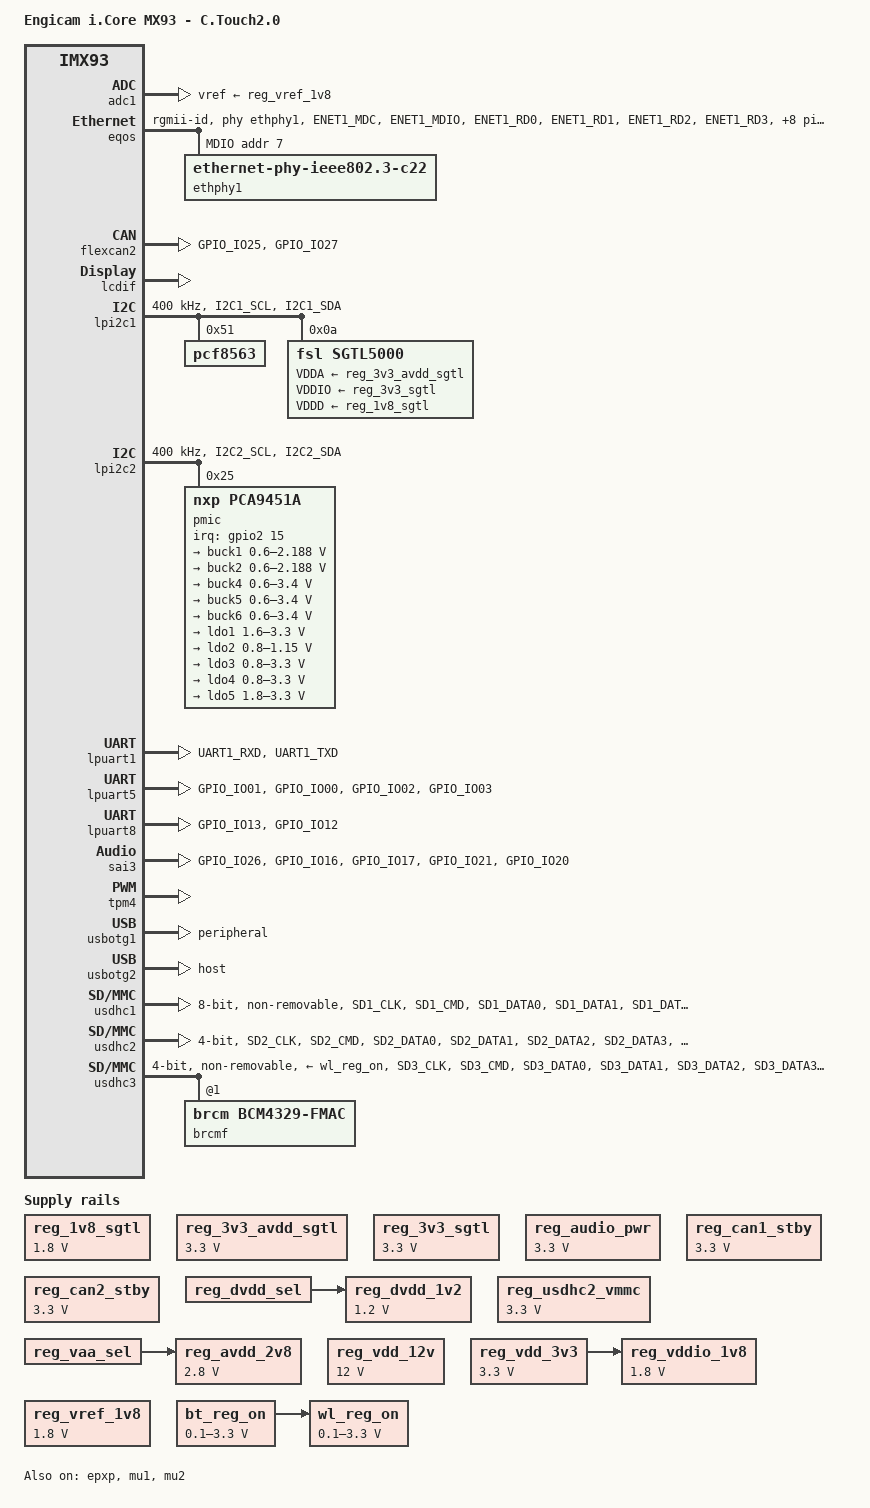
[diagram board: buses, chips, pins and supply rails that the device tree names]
// SPDX-License-Identifier: (GPL-2.0+ OR MIT)
/*
 * Copyright 2022 NXP
 */

/dts-v1/;

#include <dt-bindings/usb/pd.h>
#include "../freescale/imx93.dtsi"

/ {
	model = "Engicam i.Core MX93 - C.Touch2.0";
	compatible = "engi,imx93" ,"fsl,imx93";

	aliases {
		rtc1= &bbnsm_rtc;
	};

	chosen {
		stdout-path = &lpuart1;
	};

	cm33: imx93-cm33 {
		compatible = "fsl,imx93-cm33";
		mbox-names = "tx", "rx", "rxdb";
		mboxes = <&mu1 0 1
			  &mu1 1 1
			  &mu1 3 1>;
		memory-region = <&vdevbuffer>, <&vdev0vring0>, <&vdev0vring1>,
				<&vdev1vring0>, <&vdev1vring1>, <&rsc_table>;
		fsl,startup-delay-ms = <500>;
	};

	ethosu {
		compatible = "arm,ethosu";
		fsl,cm33-proc = <&cm33>;
		memory-region = <&ethosu_mem>;
		power-domains = <&mlmix>;
	};

	reg_1v8_sgtl: reg_1v8_sgtl_regulator {
		compatible = "regulator-fixed";
		regulator-name = "1v8_sgtl";
		regulator-min-microvolt = <1800000>;
		regulator-max-microvolt = <1800000>;
		always-on;
	};

	reg_3v3_avdd_sgtl: reg_3v3_avdd_regulator {
		compatible = "regulator-fixed";
		regulator-name = "3v3_avdd_sgtl";
		regulator-min-microvolt = <3300000>;
		regulator-max-microvolt = <3300000>;
		always-on;
	};

	reg_3v3_sgtl: reg_3v3_sgtl_regulator {
		compatible = "regulator-fixed";
		regulator-name = "3v3_sgtl";
		regulator-min-microvolt = <3300000>;
		regulator-max-microvolt = <3300000>;
		always-on;
	};

	reg_audio_pwr: regulator-audio-pwr {
		compatible = "regulator-fixed";
		regulator-name = "audio-pwr";
		regulator-min-microvolt = <3300000>;
		regulator-max-microvolt = <3300000>;
		enable-active-high;
		regulator-always-on;
	};

	reg_avdd_2v8: regulator-avdd {
		compatible = "regulator-fixed";
		regulator-name = "AVDD_2V8";
		regulator-min-microvolt = <2800000>;
		regulator-max-microvolt = <2800000>;
		enable-active-high;
		vin-supply = <&reg_vaa_sel>;
	};

	reg_can1_stby: regulator-can1-stby {
		compatible = "regulator-fixed";
		regulator-name = "can1-stby";
		regulator-min-microvolt = <3300000>;
		regulator-max-microvolt = <3300000>;
		enable-active-low;
	};

	reg_can2_stby: regulator-can2-stby {
		compatible = "regulator-fixed";
		regulator-name = "can2-stby";
		regulator-min-microvolt = <3300000>;
		regulator-max-microvolt = <3300000>;
		enable-active-low;
	};

	reg_dvdd_1v2: regulator-dvdd {
		compatible = "regulator-fixed";
		regulator-name = "DVDD_1V2";
		regulator-min-microvolt = <1200000>;
		regulator-max-microvolt = <1200000>;
		enable-active-high;
		vin-supply = <&reg_dvdd_sel>;
	};

	reg_dvdd_sel: regulator-dvdd_sel {
		compatible = "regulator-fixed";
		regulator-name = "DVDD_SEL";
		enable-active-high;
		startup-delay-us = <2000>;
	};

	reg_usdhc2_vmmc: regulator-usdhc2 {
		compatible = "regulator-fixed";
		regulator-name = "VSD_3V3";
		regulator-min-microvolt = <3300000>;
		regulator-max-microvolt = <3300000>;
	};

	reg_vaa_sel: regulator-vaa_sel {
		compatible = "regulator-fixed";
		regulator-name = "VAA_SEL";
		enable-active-high;
	};

	reg_vdd_12v: regulator-vdd-12v {
		compatible = "regulator-fixed";
		regulator-name = "reg_vdd_12v";
		regulator-min-microvolt = <12000000>;
		regulator-max-microvolt = <12000000>;
		enable-active-high;
	};

	reg_vddio_1v8: regulator-vddo {
		compatible = "regulator-fixed";
		regulator-name = "VDDIO_1V8";
		regulator-min-microvolt = <1800000>;
		regulator-max-microvolt = <1800000>;
		startup-delay-us = <4000>;
		enable-active-high;
		vin-supply = <&reg_vdd_3v3>;
	};

	reg_vdd_3v3: regulator-vdd {
		compatible = "regulator-fixed";
		regulator-name = "VDD_3V3";
		regulator-min-microvolt = <3300000>;
		regulator-max-microvolt = <3300000>;
		startup-delay-us = <4000>;
		enable-active-high;
	};

	reg_vref_1v8: regulator-adc-vref {
		compatible = "regulator-fixed";
		regulator-name = "vref_1v8";
		regulator-min-microvolt = <1800000>;
		regulator-max-microvolt = <1800000>;
	};

	reserved-memory {
		#address-cells = <2>;
		#size-cells = <2>;
		ranges;

		linux,cma {
			compatible = "shared-dma-pool";
			reusable;
			alloc-ranges = <0 0x80000000 0 0x40000000>;
			size = <0 0x10000000>;
			linux,cma-default;
		};

		ethosu_mem: ethosu_region@C0000000 {
			compatible = "shared-dma-pool";
			reusable;
			reg = <0x0 0xC0000000 0x0 0x10000000>;
		};

		rsc_table: rsc_table@2021f000 {
			reg = <0 0x2021f000 0 0x1000>;
			no-map;
		};

		vdevbuffer: vdevbuffer@a4020000 {
			compatible = "shared-dma-pool";
			reg = <0 0xa4020000 0 0x100000>;
			no-map;
		};

		vdev0vring0: vdev0vring0@a4000000 {
			reg = <0 0xa4000000 0 0x8000>;
			no-map;
		};

		vdev0vring1: vdev0vring1@a4008000 {
			reg = <0 0xa4008000 0 0x8000>;
			no-map;
		};

		vdev1vring0: vdev1vring0@a4000000 {
			reg = <0 0xa4010000 0 0x8000>;
			no-map;
		};

		vdev1vring1: vdev1vring1@a4018000 {
			reg = <0 0xa4018000 0 0x8000>;
			no-map;
		};
	};

	sound {
		compatible = "simple-audio-card";
		simple-audio-card,name = "imx93-sgtl5000";
		simple-audio-card,format = "i2s";
		simple-audio-card,bitclock-master = <&dailink_master>;
		simple-audio-card,frame-master = <&dailink_master>;
		/*simple-audio-card,mclk-fs = <1>;*/
		simple-audio-card,cpu {
			sound-dai = <&sai3>;
		};

		dailink_master: simple-audio-card,codec {
			sound-dai = <&sgtl5000>;
			clocks = <&clk IMX93_CLK_SAI3_IPG>;
		};
	};

	usdhc3_pwrseq: usdhc3_pwrseq {
		compatible = "mmc-pwrseq-simple";
	};

	wl_reg_on: regulator-wlregon {
		compatible = "regulator-gpio";
		pinctrl-names = "default";
		regulator-name = "WL_REG_ON";
		regulator-min-microvolt = <100000>;
		regulator-max-microvolt = <3300000>;
		states = <3300000 0x1>,
				 <100000 0x0>;
		gpios = <&gpio2 19 GPIO_ACTIVE_HIGH>;
		enable-active-high;
		vin-supply = <&bt_reg_on>;
	};

	bt_reg_on: regulator-btregon {
		compatible = "regulator-gpio";
		regulator-name = "BT_REG_ON";
		pinctrl-names = "default";
		regulator-min-microvolt = <100000>;
		regulator-max-microvolt = <3300000>;
		states = <3300000 0x1>,
				 <100000 0x0>;
		gpios = <&gpio2 22 GPIO_ACTIVE_HIGH>;
		regulator-always-on;
	};
};

&adc1 {
	vref-supply = <&reg_vref_1v8>;
	status = "okay";
};

&cameradev {
	status = "disabled";
};

&eqos {
	pinctrl-names = "default";
	pinctrl-0 = <&pinctrl_eqos>;
	phy-mode = "rgmii-id";
	phy-handle = <&ethphy1>;
	status = "okay";

	mdio {
		compatible = "snps,dwmac-mdio";
		#address-cells = <1>;
		#size-cells = <0>;

		ethphy1: ethernet-phy@7 {
			compatible = "ethernet-phy-ieee802.3-c22";
			reg = <7>;
		};
	};
};

&epxp {
	status = "okay";
};

&fec {
	pinctrl-names = "default";
	pinctrl-0 = <&pinctrl_fec>;
	phy-mode = "rgmii-id";
	phy-handle = <&ethphy2>;
	fsl,magic-packet;
	status = "disabled";

	mdio {
		#address-cells = <1>;
		#size-cells = <0>;

		ethphy2: ethernet-phy@7 {
			compatible = "ethernet-phy-ieee802.3-c22";
			reg = <7>;
		};
	};
};

&flexcan1 {
	pinctrl-names = "default";
	pinctrl-0 = <&pinctrl_flexcan1>;
	fsl,stop-mode = <&anomix_ns_gpr 0x10 4>;
	status = "disabled";
};

&flexcan2 {
	pinctrl-names = "default";
	pinctrl-0 = <&pinctrl_flexcan2>;
	fsl,stop-mode = <&anomix_ns_gpr 0x10 4>;
	status = "okay";
};

&isi_0 {
	status = "disabled";

	cap_device {
		status = "disabled";
	};
};

&lcdif {
	status = "okay";
	assigned-clock-rates = <498000000>, <71142857>, <400000000>, <133333333>;
};

&ldb {
	status = "disabled";
};

&ldb_phy {
	status = "disabled";
};

/*
 * When add, delete or change any target device setting in &lpi2c1,
 * please synchronize the changes to the &i3c1 bus in imx93-11x11-evk-i3c.dts.
 */
&lpi2c1 {
	#address-cells = <1>;
	#size-cells = <0>;
	clock-frequency = <400000>;
	pinctrl-names = "default", "sleep";
	pinctrl-0 = <&pinctrl_lpi2c1>;
	pinctrl-1 = <&pinctrl_lpi2c1>;
	status = "okay";

	pcf8563: rtc@51 {
		compatible = "pcf8563";
		reg = <0x51>;
	};

	sgtl5000: codec@a {
		compatible = "fsl,sgtl5000";
		status = "okay";
		#sound-dai-cells = <0>;
		reg = <0x0a>;
		clocks = <&clk IMX93_CLK_SAI3_GATE>;
		clock-names = "mclk";
		assigned-clock-rates = <12000000>, <12000000>;
		VDDA-supply = <&reg_3v3_avdd_sgtl>;
		VDDIO-supply = <&reg_3v3_sgtl>;
		VDDD-supply = <&reg_1v8_sgtl>;
	};
};

&lpi2c2 {
	#address-cells = <1>;
	#size-cells = <0>;
	clock-frequency = <400000>;
	pinctrl-names = "default", "sleep";
	pinctrl-0 = <&pinctrl_lpi2c2>;
	pinctrl-1 = <&pinctrl_lpi2c2>;
	status = "okay";

	pmic@25 {
		compatible = "nxp,pca9451a";
		reg = <0x25>;
		engi,wdog_b-warm-reset;


		interrupt-parent = <&gpio2>;
		interrupts = <15 IRQ_TYPE_LEVEL_LOW>;

		regulators {
			buck1: BUCK1 {
				regulator-name = "BUCK1";
				regulator-min-microvolt = <600000>;
				regulator-max-microvolt = <2187500>;
				regulator-boot-on;
				regulator-always-on;
				regulator-ramp-delay = <3125>;
			};

			buck2: BUCK2 {
				regulator-name = "BUCK2";
				regulator-min-microvolt = <600000>;
				regulator-max-microvolt = <2187500>;
				regulator-boot-on;
				regulator-always-on;
				regulator-ramp-delay = <3125>;
			};

			buck4: BUCK4{
				regulator-name = "BUCK4";
				regulator-min-microvolt = <600000>;
				regulator-max-microvolt = <3400000>;
				regulator-boot-on;
				regulator-always-on;
			};

			buck5: BUCK5{
				regulator-name = "BUCK5";
				regulator-min-microvolt = <600000>;
				regulator-max-microvolt = <3400000>;
				regulator-boot-on;
				regulator-always-on;
			};

			buck6: BUCK6 {
				regulator-name = "BUCK6";
				regulator-min-microvolt = <600000>;
				regulator-max-microvolt = <3400000>;
				regulator-boot-on;
				regulator-always-on;
			};

			ldo1: LDO1 {
				regulator-name = "LDO1";
				regulator-min-microvolt = <1600000>;
				regulator-max-microvolt = <3300000>;
				regulator-boot-on;
				regulator-always-on;
			};

			ldo2: LDO2 {
				regulator-name = "LDO2";
				regulator-min-microvolt = <800000>;
				regulator-max-microvolt = <1150000>;
				regulator-boot-on;
				regulator-always-on;
			};

			ldo3: LDO3 {
				regulator-name = "LDO3";
				regulator-min-microvolt = <800000>;
				regulator-max-microvolt = <3300000>;
				regulator-boot-on;
				regulator-always-on;
			};

			ldo4: LDO4 {
				regulator-name = "LDO4";
				regulator-min-microvolt = <800000>;
				regulator-max-microvolt = <3300000>;
				regulator-boot-on;
				regulator-always-on;
			};

			ldo5: LDO5 {
				regulator-name = "LDO5";
				regulator-min-microvolt = <1800000>;
				regulator-max-microvolt = <3300000>;
				regulator-boot-on;
				regulator-always-on;
			};
		};
	};
};

&lpuart1 { /* console */
	pinctrl-names = "default";
	pinctrl-0 = <&pinctrl_uart1>;
	status = "okay";
};

&lpuart5 { /* RS485 */
	pinctrl-names = "default";
	pinctrl-0 = <&pinctrl_uart5>;
	status = "okay";
};

&lpuart8 { /* RS232 */
	pinctrl-names = "default";
	pinctrl-0 = <&pinctrl_uart8>;
	status = "okay";
};

&mu1 {
	status = "okay";
};

&mu2 {
	status = "okay";
};

&sai1 {
	#sound-dai-cells = <0>;
	pinctrl-names = "default";
	pinctrl-0 = <&pinctrl_sai1>;
	assigned-clocks = <&clk IMX93_CLK_SAI1>;
	assigned-clock-parents = <&clk IMX93_CLK_AUDIO_PLL>;
	assigned-clock-rates = <12288000>;
	status = "disabled";
};

&sai3 {
	pinctrl-names = "default";
	#sound-dai-cells = <0>;
	pinctrl-0 = <&pinctrl_sai3>;
	assigned-clocks = <&clk IMX93_CLK_SAI3>;
	assigned-clock-parents = <&clk IMX93_CLK_AUDIO_PLL>;
	assigned-clock-rates = <24576000>;
	fsl,sai-mclk-direction-output;
	status = "okay";
};

&tpm4 {
	status = "okay";
};

&usbotg1 {
	dr_mode = "peripheral";
	status = "okay";
};

&usbotg2 {
	dr_mode = "host";
	status = "okay";
};

&usdhc1 {
	pinctrl-names = "default", "state_100mhz", "state_200mhz";
	pinctrl-0 = <&pinctrl_usdhc1>;
	pinctrl-1 = <&pinctrl_usdhc1>;
	pinctrl-2 = <&pinctrl_usdhc1>;
	bus-width = <8>;
	non-removable;
	status = "okay";
};

&usdhc2 {/*SD Card*/
	pinctrl-names = "default", "state_100mhz", "state_200mhz";
	pinctrl-0 = <&pinctrl_usdhc2>, <&pinctrl_usdhc2_gpio>;
	pinctrl-1 = <&pinctrl_usdhc2>, <&pinctrl_usdhc2_gpio>;
	pinctrl-2 = <&pinctrl_usdhc2>, <&pinctrl_usdhc2_gpio>;
	cd-gpios = <&gpio3 00 GPIO_ACTIVE_LOW>;
	bus-width = <4>;
	no-1-8-v;
	max-frequency = <25000000>;
	status = "okay";
};

&usdhc3 {/* WiFi*/
	pinctrl-names = "default", "state_100mhz", "state_200mhz";
	pinctrl-0 = <&pinctrl_usdhc3>, <&pinctrl_laird>;
	pinctrl-1 = <&pinctrl_usdhc3>, <&pinctrl_laird>;
	pinctrl-2 = <&pinctrl_usdhc3>, <&pinctrl_laird>;
	vmmc-supply = <&wl_reg_on>;
	bus-width = <4>;
	no-1-8-v;
	non-removable;
	max-frequency = <25000000>;
	status = "okay";

	#address-cells = <1>;
	#size-cells = <0>;

	brcmf: bcrmf@1 {
		reg = <1>;
		compatible = "brcm,bcm4329-fmac";
	};
};

&iomuxc {

	pinctrl_eqos: eqosgrp {
		fsl,pins = <
			MX93_PAD_ENET1_MDC__ENET_QOS_MDC                        0x53e
			MX93_PAD_ENET1_MDIO__ENET_QOS_MDIO                      0x53e
			MX93_PAD_ENET1_RD0__ENET_QOS_RGMII_RD0                  0x53e
			MX93_PAD_ENET1_RD1__ENET_QOS_RGMII_RD1                  0x53e
			MX93_PAD_ENET1_RD2__ENET_QOS_RGMII_RD2                  0x53e
			MX93_PAD_ENET1_RD3__ENET_QOS_RGMII_RD3                  0x53e
			MX93_PAD_ENET1_RXC__CCM_ENET_QOS_CLOCK_GENERATE_RX_CLK  0x53e
			MX93_PAD_ENET1_RX_CTL__ENET_QOS_RGMII_RX_CTL            0x53e
			MX93_PAD_ENET1_TD0__ENET_QOS_RGMII_TD0                  0x53e
			MX93_PAD_ENET1_TD1__ENET_QOS_RGMII_TD1                  0x53e
			MX93_PAD_ENET1_TD2__ENET_QOS_RGMII_TD2                  0x53e
			MX93_PAD_ENET1_TD3__ENET_QOS_RGMII_TD3                  0x53e
			MX93_PAD_ENET1_TXC__CCM_ENET_QOS_CLOCK_GENERATE_TX_CLK  0x53e
			MX93_PAD_ENET1_TX_CTL__ENET_QOS_RGMII_TX_CTL            0x53e
		>;
	};

	pinctrl_fec: fecgrp {
		fsl,pins = <
			MX93_PAD_ENET2_MDC__ENET1_MDC                   0x57e
			MX93_PAD_ENET2_MDIO__ENET1_MDIO                 0x57e
			MX93_PAD_ENET2_RD0__ENET1_RGMII_RD0             0x57e
			MX93_PAD_ENET2_RD1__ENET1_RGMII_RD1             0x57e
			MX93_PAD_ENET2_RD2__ENET1_RGMII_RD2             0x57e
			MX93_PAD_ENET2_RD3__ENET1_RGMII_RD3             0x57e
			MX93_PAD_ENET2_RXC__ENET1_RGMII_RXC             0x5fe
			MX93_PAD_ENET2_RX_CTL__ENET1_RGMII_RX_CTL       0x57e
			MX93_PAD_ENET2_TD0__ENET1_RGMII_TD0             0x57e
			MX93_PAD_ENET2_TD1__ENET1_RGMII_TD1             0x57e
			MX93_PAD_ENET2_TD2__ENET1_RGMII_TD2             0x57e
			MX93_PAD_ENET2_TD3__ENET1_RGMII_TD3             0x57e
			MX93_PAD_ENET2_TXC__ENET1_RGMII_TXC             0x5fe
			MX93_PAD_ENET2_TX_CTL__ENET1_RGMII_TX_CTL       0x57e
		>;
	};

	pinctrl_flexcan1: flexcan1grp {
		fsl,pins = <
			MX93_PAD_PDM_CLK__CAN1_TX	0x139e
			MX93_PAD_PDM_BIT_STREAM0__CAN1_RX	0x139e
		>;
	};

	pinctrl_flexcan2: flexcan2grp {
		fsl,pins = <
			MX93_PAD_GPIO_IO25__CAN2_TX	0x139e
			MX93_PAD_GPIO_IO27__CAN2_RX	0x139e
		>;
	};

	pinctrl_laird: lairdgrp {
		fsl,pins = <
			MX93_PAD_GPIO_IO22__GPIO2_IO22			0x31e //BT_REG_ON
			MX93_PAD_GPIO_IO19__GPIO2_IO19			0x31e //WL_REG_ON
		>;
	};

	pinctrl_lpi2c1: lpi2c1grp {
		fsl,pins = <
			MX93_PAD_I2C1_SCL__LPI2C1_SCL			0x40000b9e
			MX93_PAD_I2C1_SDA__LPI2C1_SDA			0x40000b9e
		>;
	};

	pinctrl_lpi2c2: lpi2c2grp {
		fsl,pins = <
			MX93_PAD_I2C2_SCL__LPI2C2_SCL			0x40000b9e
			MX93_PAD_I2C2_SDA__LPI2C2_SDA			0x40000b9e
		>;
	};

	pinctrl_sai1: sai1grp {
		fsl,pins = <
			MX93_PAD_SAI1_TXC__SAI1_TX_BCLK			0x31e
			MX93_PAD_SAI1_TXFS__SAI1_TX_SYNC		0x31e
			MX93_PAD_SAI1_TXD0__SAI1_TX_DATA00		0x31e
			MX93_PAD_SAI1_RXD0__SAI1_RX_DATA00		0x31e
		>;
	};

	pinctrl_sai3: sai3grp {
		fsl,pins = <
			MX93_PAD_GPIO_IO26__SAI3_TX_SYNC		0x31e
			MX93_PAD_GPIO_IO16__SAI3_TX_BCLK		0x31e
			MX93_PAD_GPIO_IO17__SAI3_MCLK		0x31e
			MX93_PAD_GPIO_IO21__SAI3_TX_DATA00		0x31e
			MX93_PAD_GPIO_IO20__SAI3_RX_DATA00		0x31e
		>;
	};

	pinctrl_uart1: uart1grp {
		fsl,pins = <
			MX93_PAD_UART1_RXD__LPUART1_RX			0x31e
			MX93_PAD_UART1_TXD__LPUART1_TX			0x31e
		>;
	};

	pinctrl_uart5: uart5grp {
		fsl,pins = <
			MX93_PAD_GPIO_IO01__LPUART5_RX			0x31e
			MX93_PAD_GPIO_IO00__LPUART5_TX			0x31e
			MX93_PAD_GPIO_IO02__LPUART5_CTS_B		0x31e
			MX93_PAD_GPIO_IO03__LPUART5_RTS_B		0x31e
		>;
	};

	pinctrl_uart8: uart8grp {
		fsl,pins = <
			MX93_PAD_GPIO_IO13__LPUART8_RX			0x31e
			MX93_PAD_GPIO_IO12__LPUART8_TX			0x31e
		>;
	};

	pinctrl_usdhc1: usdhc1grp {
		fsl,pins = <
			MX93_PAD_SD1_CLK__USDHC1_CLK		0x15fe
			MX93_PAD_SD1_CMD__USDHC1_CMD		0x13fe
			MX93_PAD_SD1_DATA0__USDHC1_DATA0	0x13fe
			MX93_PAD_SD1_DATA1__USDHC1_DATA1	0x13fe
			MX93_PAD_SD1_DATA2__USDHC1_DATA2	0x13fe
			MX93_PAD_SD1_DATA3__USDHC1_DATA3	0x13fe
			MX93_PAD_SD1_DATA4__USDHC1_DATA4	0x13fe
			MX93_PAD_SD1_DATA5__USDHC1_DATA5	0x13fe
			MX93_PAD_SD1_DATA6__USDHC1_DATA6	0x13fe
			MX93_PAD_SD1_DATA7__USDHC1_DATA7	0x13fe
			MX93_PAD_SD1_STROBE__USDHC1_STROBE	0x15fe
		>;
	};

	pinctrl_usdhc2: usdhc2grp {
		fsl,pins = <
			MX93_PAD_SD2_CLK__USDHC2_CLK			0x170e
			MX93_PAD_SD2_CMD__USDHC2_CMD			0x130e
			MX93_PAD_SD2_DATA0__USDHC2_DATA0		0x130e
			MX93_PAD_SD2_DATA1__USDHC2_DATA1        0x130e
			MX93_PAD_SD2_DATA2__USDHC2_DATA2        0x130e
			MX93_PAD_SD2_DATA3__USDHC2_DATA3        0x130e
			MX93_PAD_SD2_VSELECT__USDHC2_VSELECT	0x51e
		>;
	};

	pinctrl_usdhc2_gpio: usdhc2gpiogrp {
		fsl,pins = <
			MX93_PAD_SD2_CD_B__GPIO3_IO00		0x31e
		>;
	};

	pinctrl_usdhc3: usdhc3grp {
		fsl,pins = <
			MX93_PAD_SD3_CLK__USDHC3_CLK			0x17fe
			MX93_PAD_SD3_CMD__USDHC3_CMD			0x13fe
			MX93_PAD_SD3_DATA0__USDHC3_DATA0		0x13fe
			MX93_PAD_SD3_DATA1__USDHC3_DATA1        0x13fe
			MX93_PAD_SD3_DATA2__USDHC3_DATA2        0x13fe
			MX93_PAD_SD3_DATA3__USDHC3_DATA3        0x13fe
		>;
	};
};
